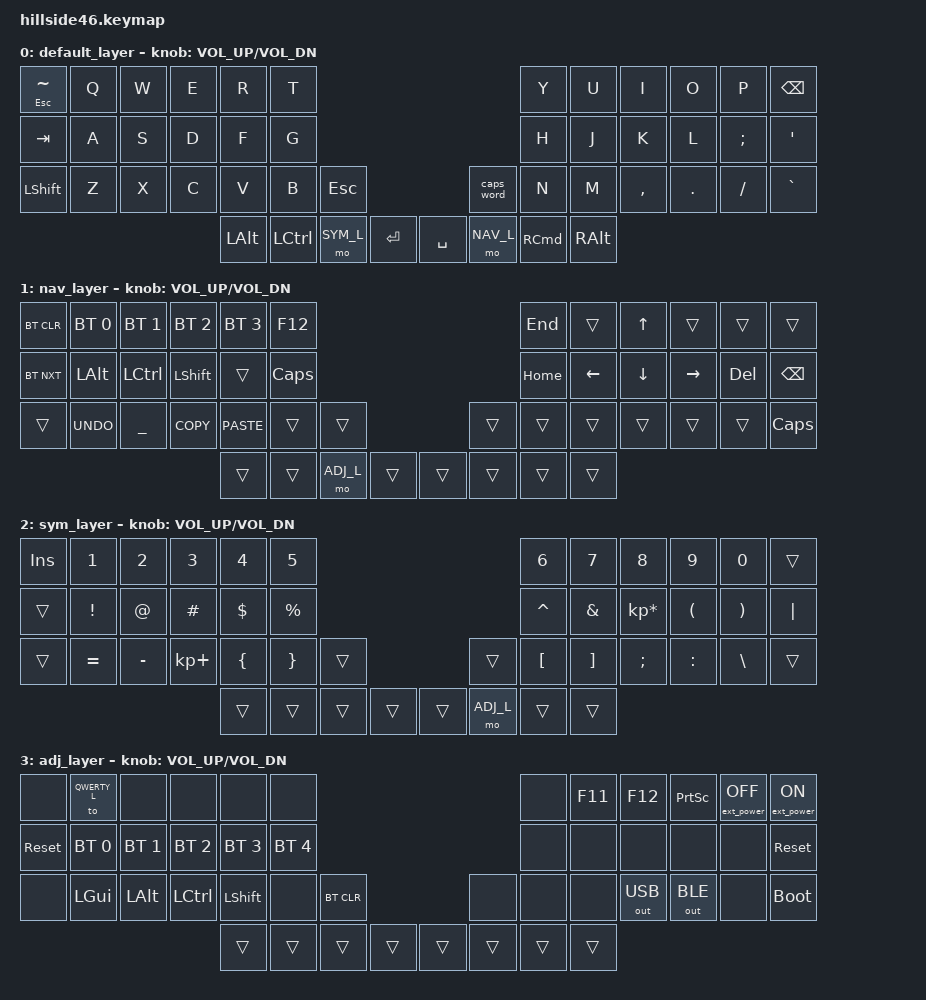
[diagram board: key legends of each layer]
/*
 * Copyright (c) 2021-2022 The ZMK Contributors
 *
 * SPDX-License-Identifier: MIT
 */

#include <behaviors.dtsi>
#include <dt-bindings/zmk/bt.h>
#include <dt-bindings/zmk/ext_power.h>
#include <dt-bindings/zmk/keys.h>
#include <dt-bindings/zmk/outputs.h>

// layer shortcuts, must match order in which they are defined below
#define QWERTY_L 0
#define NAV_L    1
#define SYM_L    2
#define ADJ_L    3
#define HK 3
#define ADJ 4

#define Undo   LC(Z)
#define Redo   LC(Y)
#define Cut    LS(DEL)
#define Copy   LC(INS)
#define Paste  LS(INS)

#define XXX &none
#define ___ &trans

&mt {
	flavor = "balanced";
};
&sk {
        quick-release;
};
&caps_word {
        // Allow caps word to continue even when minus, delete, left or underscore are pressed.
        continue-list = <UNDERSCORE MINUS BACKSPACE DELETE LEFT>;
};

/ {
        keymap {
                compatible = "zmk,keymap";

                default_layer {
/* QWERTY
 * -------------------------------------------------------------------------------------------------------------------------------------
 * | `     |   Q   |   W   |   E   |   R   |   T   |-----------------------------------|   Y   |   U   |   I   |   O   |   P   | BKSPC |
 * | TAB   |   A   |   S   |   D   |   F   |   G   |-----------------------------------|   H   |   J   |   K   |   L   |   ;   | ENTER |
 * | CTRL  |   Z   |   X   |   C   |   V   |   B   |  ESC  |-------------------|  CAPS |   N   |   M   |   ,   |   .   |   /   |   '   |
 *                                 |  GUI  |  ALT  |SK SHFT|  Nav  |---|  Sym  | SPACE |  ALT  |  GUI  |
 */
                        bindings = <
&mt ESC TILDE  &kp Q  &kp W  &kp E  &kp R     &kp T                                                   &kp Y              &kp U          &kp I      &kp O    &kp P      &kp BSPC
&kp TAB        &kp A  &kp S  &kp D  &kp F     &kp G                                                   &kp H              &kp J          &kp K      &kp L    &kp SEMI   &kp SQT
&kp LSHFT      &kp Z  &kp X  &kp C  &kp V     &kp B      &kp ESC                          &caps_word  &kp N              &kp M          &kp COMMA  &kp DOT  &kp SLASH  &kp GRAVE
                                    &kp LALT  &kp LCTRL  &mo SYM_L  &kp RET    &kp SPACE  &mo NAV_L   &kp RIGHT_COMMAND  &kp RIGHT_ALT
            >;
            sensor-bindings = <&inc_dec_kp C_VOL_UP C_VOL_DN>;
                };
		
                nav_layer {
/* NAV   
 * -------------------------------------------------------------------------------------------------------------------------------------
 * | Copy  |   1   |   2   |   3   |   4   |   5   |-----------------------------------|   6   |   7   |   8   |   9   |   0   | BSPC  |
 * | Cut   |  GUI  |  Alt  | Ctrl  | Shift | Paste |-----------------------------------| PG UP |  Left |  Up   |  Down | Right | PG DN |
 * | Ctrl  |  F1   |  F2   |  F3   |  F4   |  F5   |  UnDo |-------------------| ReDo  |  F6   |  F7   |  F8   |  F9   |  F10  | Ctrl  |
 *                                 |       |       |       |       |---| ADJ_L |       |       |       |
 */
                        bindings = <
&bt BT_CLR  &bt BT_SEL 0  &bt BT_SEL 1  &bt BT_SEL 2  &bt BT_SEL 3  &kp F12                                        &kp END   &trans    &kp UP    &trans     &trans   &trans
&bt BT_NXT  &kp LALT      &kp LCTRL     &kp LSHFT     &trans        &kp CLCK                                       &kp HOME  &kp LEFT  &kp DOWN  &kp RIGHT  &kp DEL  &kp BSPC
&trans      &kp K_UNDO    &kp UNDER     &kp K_COPY    &kp K_PASTE   &trans    &trans                       &trans  &trans    &trans    &trans    &trans     &trans   &kp CLCK
                                                      &trans        &trans    &mo ADJ_L  &trans    &trans  &trans  &trans    &trans
            >;
            sensor-bindings = <&inc_dec_kp C_VOL_UP C_VOL_DN>;
                };

                sym_layer {
/* SYM
 * -------------------------------------------------------------------------------------------------------------------------------------
 * | INS   |   !   |   @   |   #   |   $   |   %   |-----------------------------------|   ^   |   &   |   *   |   (   |   )   | BSPC  |
 * |       |   \   |   -   |   =   |   [   |   ]   |-----------------------------------| HOME  | Shift | Ctrl  | Alt   | Gui   | END   |
 * | Ctrl  |   |   |   _   |   +   |   {   |   }   |SkAltGr|-------------------| MENU  | Mute  | Vol-  | Vol+  | Play  |       | Ctrl  |
 *                                 |       |       |       |  ADJ_L |---|      |       |       |       |
 */
                        bindings = <
&kp INS  &kp N1     &kp N2     &kp N3       &kp N4    &kp N5                                          &kp N6     &kp N7    &kp N8           &kp N9     &kp N0    &trans
&trans   &kp EXCL   &kp AT     &kp HASH     &kp DLLR  &kp PRCNT                                       &kp CARET  &kp AMPS  &kp KP_MULTIPLY  &kp LPAR   &kp RPAR  &kp PIPE
&trans   &kp EQUAL  &kp MINUS  &kp KP_PLUS  &kp LBRC  &kp RBRC   &trans                    &trans     &kp LBKT   &kp RBKT  &kp SEMI         &kp COLON  &kp BSLH  &trans
                                            &trans    &trans     &trans  &trans    &trans  &mo ADJ_L  &trans     &trans
            >;
            sensor-bindings = <&inc_dec_kp C_VOL_UP C_VOL_DN>;
                };
		
                adj_layer {
/* ADJUST
 * -------------------------------------------------------------------------------------------------------------------------------------
 * |       | QWERTY| DVORAK| COLEMK|       |       |-----------------------------------|       |  F11  |  F12  |Prt Scr|EP_OFF | EP_ON |
 * | RESET | BT 0  | BT 1  | BT 2  | BT 3  | BT 4  |-----------------------------------|       |       |       |       |       | RESET |
 * |       | LGUI  | LALT  | LCTRL | LSHIFT|       |BT CLR |-------------------|       |       |       |OUT_USB|OUT_BLE|       | BOOTL |
 *                                 |       |       |       |       |---|       |       |       |       |
 */
                        bindings = <
&none       &to QWERTY_L  &none         &none         &none         &none                                               &none   &kp F11  &kp F12       &kp PRINTSCREEN  &ext_power EP_OFF  &ext_power EP_ON
&sys_reset  &bt BT_SEL 0  &bt BT_SEL 1  &bt BT_SEL 2  &bt BT_SEL 3  &bt BT_SEL 4                                        &none   &none    &none         &none            &none              &sys_reset
&none       &kp LGUI      &kp LALT      &kp LCTRL     &kp LSHIFT    &none         &bt BT_CLR                    &none   &none   &none    &out OUT_USB  &out OUT_BLE     &none              &bootloader
                                                      &trans        &trans        &trans      &trans    &trans  &trans  &trans  &trans
            >;
            sensor-bindings = <&inc_dec_kp C_VOL_UP C_VOL_DN>;
                };
        };
};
